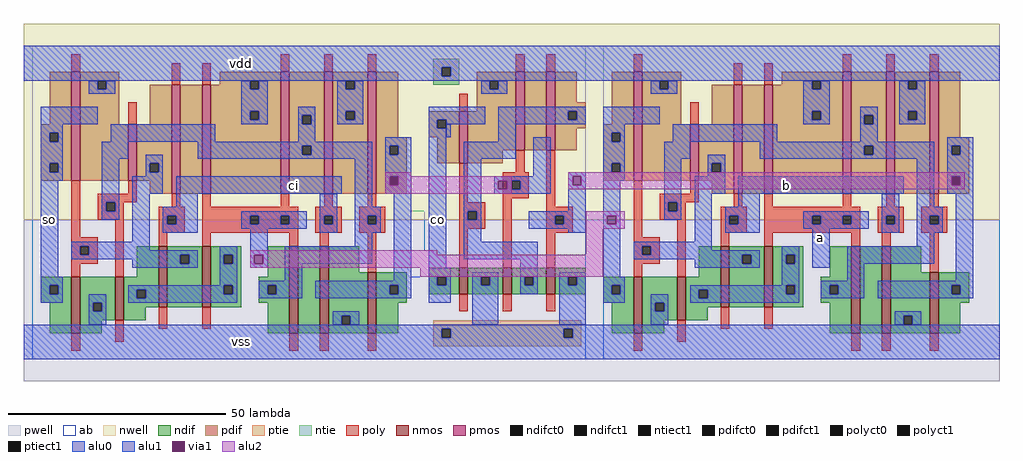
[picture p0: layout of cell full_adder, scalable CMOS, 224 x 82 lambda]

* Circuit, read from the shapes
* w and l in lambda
.subckt full_adder a b ci co so vdd vss
M1 vss n1 so vss nfet w=13 l=2
M2 n2 n3 vss vss nfet w=10 l=2
M3 n1 ci n2 vss nfet w=14 l=2
M4 n2 n4 n1 vss nfet w=14 l=2
M5 n5 n4 n3 vss nfet w=20 l=2
M6 vss ci n5 vss nfet w=20 l=2
M7 n6 n3 vss vss nfet w=14 l=2
M8 vss n7 co vss nfet w=6 l=2
M9 n7 n6 vss vss nfet w=6 l=2
M10 vss n8 n7 vss nfet w=6 l=2
M11 vss n9 n4 vss nfet w=13 l=2
M12 n10 n11 vss vss nfet w=10 l=2
M13 n9 b n10 vss nfet w=14 l=2
M14 n10 a n9 vss nfet w=14 l=2
M15 n12 a n11 vss nfet w=20 l=2
M16 vss b n12 vss nfet w=20 l=2
M17 n8 n11 vss vss nfet w=14 l=2
M18 vdd n1 so vdd pfet w=25 l=2
M19 n1 n3 vdd vdd pfet w=13 l=2
M20 n13 ci n1 vdd pfet w=25 l=2
M21 vdd n4 n13 vdd pfet w=25 l=2
M22 n3 n4 vdd vdd pfet w=28 l=2
M23 vdd ci n3 vdd pfet w=28 l=2
M24 n6 n3 vdd vdd pfet w=28 l=2
M25 vdd n7 co vdd pfet w=12 l=2
M26 n14 n6 vdd vdd pfet w=18 l=2
M27 n7 n8 n14 vdd pfet w=18 l=2
M28 vdd n9 n4 vdd pfet w=25 l=2
M29 n9 n11 vdd vdd pfet w=13 l=2
M30 n15 b n9 vdd pfet w=25 l=2
M31 vdd a n15 vdd pfet w=25 l=2
M32 n11 a vdd vdd pfet w=28 l=2
M33 vdd b n11 vdd pfet w=28 l=2
M34 n8 n11 vdd vdd pfet w=28 l=2
.ends

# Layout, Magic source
magic
tech scmos
<< ab >>
rect 10 39 137 77
rect 10 30 97 39
rect 100 30 137 39
rect 10 26 137 30
rect 10 24 97 26
rect 99 24 137 26
rect 10 5 137 24
rect 141 5 232 77
<< nwell >>
rect 8 37 232 82
<< pwell >>
rect 8 0 232 37
<< poly >>
rect 19 71 21 75
rect 42 68 44 73
rect 49 68 51 73
rect 67 71 69 75
rect 77 71 79 75
rect 87 71 89 75
rect 32 59 34 64
rect 19 33 21 46
rect 32 43 34 46
rect 121 71 123 75
rect 128 71 130 75
rect 148 71 150 75
rect 108 62 110 66
rect 25 41 34 43
rect 25 39 27 41
rect 29 39 31 41
rect 42 40 44 43
rect 49 40 51 43
rect 67 40 69 43
rect 77 40 79 43
rect 87 40 89 43
rect 108 41 110 50
rect 121 48 123 53
rect 118 46 124 48
rect 118 44 120 46
rect 122 44 124 46
rect 118 42 124 44
rect 25 37 31 39
rect 19 31 25 33
rect 19 29 21 31
rect 23 29 25 31
rect 19 27 25 29
rect 19 24 21 27
rect 29 24 31 37
rect 39 38 45 40
rect 39 36 41 38
rect 43 36 45 38
rect 39 34 45 36
rect 49 38 71 40
rect 49 36 60 38
rect 62 36 67 38
rect 69 36 71 38
rect 49 34 71 36
rect 75 38 81 40
rect 75 36 77 38
rect 79 36 81 38
rect 75 34 81 36
rect 85 38 91 40
rect 85 36 87 38
rect 89 36 91 38
rect 85 34 91 36
rect 108 39 114 41
rect 108 37 110 39
rect 112 37 114 39
rect 108 35 114 37
rect 39 31 41 34
rect 49 31 51 34
rect 69 31 71 34
rect 76 31 78 34
rect 19 7 21 11
rect 29 9 31 14
rect 39 12 41 17
rect 49 12 51 17
rect 87 25 89 34
rect 108 26 110 35
rect 118 26 120 42
rect 128 40 130 53
rect 171 68 173 73
rect 178 68 180 73
rect 196 71 198 75
rect 206 71 208 75
rect 216 71 218 75
rect 161 59 163 64
rect 128 38 134 40
rect 128 36 130 38
rect 132 36 134 38
rect 128 34 134 36
rect 128 26 130 34
rect 148 33 150 46
rect 161 43 163 46
rect 154 41 163 43
rect 154 39 156 41
rect 158 39 160 41
rect 171 40 173 43
rect 178 40 180 43
rect 196 40 198 43
rect 206 40 208 43
rect 216 40 218 43
rect 154 37 160 39
rect 148 31 154 33
rect 148 29 150 31
rect 152 29 154 31
rect 148 27 154 29
rect 148 24 150 27
rect 158 24 160 37
rect 168 38 174 40
rect 168 36 170 38
rect 172 36 174 38
rect 168 34 174 36
rect 178 38 200 40
rect 178 36 189 38
rect 191 36 196 38
rect 198 36 200 38
rect 178 34 200 36
rect 204 38 210 40
rect 204 36 206 38
rect 208 36 210 38
rect 204 34 210 36
rect 214 38 220 40
rect 214 36 216 38
rect 218 36 220 38
rect 214 34 220 36
rect 168 31 170 34
rect 178 31 180 34
rect 198 31 200 34
rect 205 31 207 34
rect 108 16 110 20
rect 118 16 120 20
rect 128 16 130 20
rect 69 7 71 11
rect 76 7 78 11
rect 87 7 89 11
rect 148 7 150 11
rect 158 9 160 14
rect 168 12 170 17
rect 178 12 180 17
rect 216 25 218 34
rect 198 7 200 11
rect 205 7 207 11
rect 216 7 218 11
<< ndif >>
rect 34 24 39 31
rect 12 22 19 24
rect 12 20 14 22
rect 16 20 19 22
rect 12 18 19 20
rect 14 11 19 18
rect 21 18 29 24
rect 21 16 24 18
rect 26 16 29 18
rect 21 14 29 16
rect 31 21 39 24
rect 31 19 34 21
rect 36 19 39 21
rect 31 17 39 19
rect 41 29 49 31
rect 41 27 44 29
rect 46 27 49 29
rect 41 17 49 27
rect 51 29 58 31
rect 51 27 54 29
rect 56 27 58 29
rect 51 22 58 27
rect 64 24 69 31
rect 51 20 54 22
rect 56 20 58 22
rect 51 17 58 20
rect 62 22 69 24
rect 62 20 64 22
rect 66 20 69 22
rect 62 18 69 20
rect 31 14 36 17
rect 21 11 26 14
rect 64 11 69 18
rect 71 11 76 31
rect 78 25 85 31
rect 78 15 87 25
rect 78 13 81 15
rect 83 13 87 15
rect 78 11 87 13
rect 89 22 96 25
rect 89 20 92 22
rect 94 20 96 22
rect 101 24 108 26
rect 101 22 103 24
rect 105 22 108 24
rect 101 20 108 22
rect 110 24 118 26
rect 110 22 113 24
rect 115 22 118 24
rect 110 20 118 22
rect 120 24 128 26
rect 120 22 123 24
rect 125 22 128 24
rect 120 20 128 22
rect 130 24 137 26
rect 163 24 168 31
rect 130 22 133 24
rect 135 22 137 24
rect 130 20 137 22
rect 141 22 148 24
rect 141 20 143 22
rect 145 20 148 22
rect 89 18 96 20
rect 89 11 94 18
rect 141 18 148 20
rect 143 11 148 18
rect 150 18 158 24
rect 150 16 153 18
rect 155 16 158 18
rect 150 14 158 16
rect 160 21 168 24
rect 160 19 163 21
rect 165 19 168 21
rect 160 17 168 19
rect 170 29 178 31
rect 170 27 173 29
rect 175 27 178 29
rect 170 17 178 27
rect 180 29 187 31
rect 180 27 183 29
rect 185 27 187 29
rect 180 22 187 27
rect 193 24 198 31
rect 180 20 183 22
rect 185 20 187 22
rect 180 17 187 20
rect 191 22 198 24
rect 191 20 193 22
rect 195 20 198 22
rect 191 18 198 20
rect 160 14 165 17
rect 150 11 155 14
rect 193 11 198 18
rect 200 11 205 31
rect 207 25 214 31
rect 207 15 216 25
rect 207 13 210 15
rect 212 13 216 15
rect 207 11 216 13
rect 218 22 225 25
rect 218 20 221 22
rect 223 20 225 22
rect 218 18 225 20
rect 218 11 223 18
<< pdif >>
rect 14 59 19 71
rect 12 57 19 59
rect 12 55 14 57
rect 16 55 19 57
rect 12 50 19 55
rect 12 48 14 50
rect 16 48 19 50
rect 12 46 19 48
rect 21 69 30 71
rect 21 67 25 69
rect 27 67 30 69
rect 53 69 67 71
rect 53 68 60 69
rect 21 59 30 67
rect 37 59 42 68
rect 21 46 32 59
rect 34 50 42 59
rect 34 48 37 50
rect 39 48 42 50
rect 34 46 42 48
rect 37 43 42 46
rect 44 43 49 68
rect 51 67 60 68
rect 62 67 67 69
rect 51 62 67 67
rect 51 60 60 62
rect 62 60 67 62
rect 51 43 67 60
rect 69 61 77 71
rect 69 59 72 61
rect 74 59 77 61
rect 69 54 77 59
rect 69 52 72 54
rect 74 52 77 54
rect 69 43 77 52
rect 79 69 87 71
rect 79 67 82 69
rect 84 67 87 69
rect 79 62 87 67
rect 79 60 82 62
rect 84 60 87 62
rect 79 43 87 60
rect 89 56 94 71
rect 112 69 121 71
rect 112 67 115 69
rect 117 67 121 69
rect 112 62 121 67
rect 101 60 108 62
rect 101 58 103 60
rect 105 58 108 60
rect 101 56 108 58
rect 89 54 96 56
rect 89 52 92 54
rect 94 52 96 54
rect 89 47 96 52
rect 103 50 108 56
rect 110 53 121 62
rect 123 53 128 71
rect 130 64 135 71
rect 130 62 137 64
rect 130 60 133 62
rect 135 60 137 62
rect 130 58 137 60
rect 143 59 148 71
rect 130 53 135 58
rect 141 57 148 59
rect 141 55 143 57
rect 145 55 148 57
rect 110 50 118 53
rect 89 45 92 47
rect 94 45 96 47
rect 89 43 96 45
rect 141 50 148 55
rect 141 48 143 50
rect 145 48 148 50
rect 141 46 148 48
rect 150 69 159 71
rect 150 67 154 69
rect 156 67 159 69
rect 182 69 196 71
rect 182 68 189 69
rect 150 59 159 67
rect 166 59 171 68
rect 150 46 161 59
rect 163 50 171 59
rect 163 48 166 50
rect 168 48 171 50
rect 163 46 171 48
rect 166 43 171 46
rect 173 43 178 68
rect 180 67 189 68
rect 191 67 196 69
rect 180 62 196 67
rect 180 60 189 62
rect 191 60 196 62
rect 180 43 196 60
rect 198 61 206 71
rect 198 59 201 61
rect 203 59 206 61
rect 198 54 206 59
rect 198 52 201 54
rect 203 52 206 54
rect 198 43 206 52
rect 208 69 216 71
rect 208 67 211 69
rect 213 67 216 69
rect 208 62 216 67
rect 208 60 211 62
rect 213 60 216 62
rect 208 43 216 60
rect 218 56 223 71
rect 218 54 225 56
rect 218 52 221 54
rect 223 52 225 54
rect 218 47 225 52
rect 218 45 221 47
rect 223 45 225 47
rect 218 43 225 45
<< alu1 >>
rect 8 72 232 77
rect 8 70 104 72
rect 106 70 232 72
rect 8 69 232 70
rect 12 59 25 63
rect 101 60 114 63
rect 12 57 17 59
rect 12 55 14 57
rect 16 55 17 57
rect 101 58 103 60
rect 105 59 114 60
rect 141 59 154 63
rect 12 50 17 55
rect 12 48 14 50
rect 16 48 17 50
rect 12 46 17 48
rect 12 24 16 46
rect 43 43 81 47
rect 43 40 48 43
rect 40 38 48 40
rect 40 36 41 38
rect 43 36 48 38
rect 40 34 48 36
rect 58 38 73 39
rect 58 36 60 38
rect 62 36 67 38
rect 69 36 73 38
rect 58 35 73 36
rect 12 22 17 24
rect 60 29 64 35
rect 91 54 97 56
rect 91 52 92 54
rect 94 52 97 54
rect 91 47 97 52
rect 91 45 92 47
rect 94 45 97 47
rect 91 43 97 45
rect 60 27 61 29
rect 63 27 64 29
rect 60 26 64 27
rect 93 23 97 43
rect 12 20 14 22
rect 16 20 17 22
rect 12 18 17 20
rect 75 22 97 23
rect 75 20 92 22
rect 94 20 97 22
rect 75 19 97 20
rect 101 26 105 58
rect 141 57 146 59
rect 125 47 129 56
rect 141 55 143 57
rect 145 55 146 57
rect 141 50 146 55
rect 141 48 143 50
rect 145 48 146 50
rect 116 46 129 47
rect 116 44 117 46
rect 119 44 120 46
rect 122 44 129 46
rect 116 43 129 44
rect 133 47 137 48
rect 133 45 134 47
rect 136 45 137 47
rect 133 39 137 45
rect 124 38 137 39
rect 124 36 130 38
rect 132 36 137 38
rect 124 35 137 36
rect 133 34 137 35
rect 141 46 146 48
rect 141 38 145 46
rect 141 36 142 38
rect 144 36 145 38
rect 172 43 210 47
rect 101 24 106 26
rect 101 22 103 24
rect 105 22 106 24
rect 101 18 106 22
rect 141 24 145 36
rect 172 40 177 43
rect 169 38 177 40
rect 169 36 170 38
rect 172 36 177 38
rect 169 34 177 36
rect 187 38 202 39
rect 187 36 189 38
rect 191 36 196 38
rect 198 36 202 38
rect 187 35 202 36
rect 141 22 146 24
rect 189 26 193 35
rect 220 54 226 56
rect 220 52 221 54
rect 223 52 226 54
rect 220 47 226 52
rect 220 45 221 47
rect 223 45 226 47
rect 220 43 226 45
rect 222 23 226 43
rect 141 20 143 22
rect 145 20 146 22
rect 141 18 146 20
rect 204 22 226 23
rect 204 20 221 22
rect 223 20 226 22
rect 204 19 226 20
rect 8 12 232 13
rect 8 10 104 12
rect 106 10 132 12
rect 134 10 232 12
rect 8 5 232 10
<< alu2 >>
rect 91 47 97 48
rect 133 47 224 48
rect 91 45 92 47
rect 94 46 120 47
rect 94 45 117 46
rect 91 44 117 45
rect 119 44 120 46
rect 133 45 134 47
rect 136 45 221 47
rect 223 45 224 47
rect 133 44 224 45
rect 91 43 120 44
rect 137 38 146 39
rect 137 36 142 38
rect 144 36 146 38
rect 137 35 146 36
rect 60 29 103 30
rect 137 29 141 35
rect 60 27 61 29
rect 63 27 141 29
rect 60 26 141 27
rect 99 24 141 26
<< ptie >>
rect 102 12 136 14
rect 102 10 104 12
rect 106 10 132 12
rect 134 10 136 12
rect 102 8 136 10
<< ntie >>
rect 102 72 108 74
rect 102 70 104 72
rect 106 70 108 72
rect 102 68 108 70
<< nmos >>
rect 19 11 21 24
rect 29 14 31 24
rect 39 17 41 31
rect 49 17 51 31
rect 69 11 71 31
rect 76 11 78 31
rect 87 11 89 25
rect 108 20 110 26
rect 118 20 120 26
rect 128 20 130 26
rect 148 11 150 24
rect 158 14 160 24
rect 168 17 170 31
rect 178 17 180 31
rect 198 11 200 31
rect 205 11 207 31
rect 216 11 218 25
<< pmos >>
rect 19 46 21 71
rect 32 46 34 59
rect 42 43 44 68
rect 49 43 51 68
rect 67 43 69 71
rect 77 43 79 71
rect 87 43 89 71
rect 108 50 110 62
rect 121 53 123 71
rect 128 53 130 71
rect 148 46 150 71
rect 161 46 163 59
rect 171 43 173 68
rect 178 43 180 68
rect 196 43 198 71
rect 206 43 208 71
rect 216 43 218 71
<< polyct0 >>
rect 27 39 29 41
rect 21 29 23 31
rect 77 36 79 38
rect 87 36 89 38
rect 110 37 112 39
rect 156 39 158 41
rect 150 29 152 31
rect 206 36 208 38
rect 216 36 218 38
<< polyct1 >>
rect 120 44 122 46
rect 41 36 43 38
rect 60 36 62 38
rect 67 36 69 38
rect 130 36 132 38
rect 170 36 172 38
rect 189 36 191 38
rect 196 36 198 38
<< ndifct0 >>
rect 24 16 26 18
rect 34 19 36 21
rect 44 27 46 29
rect 54 27 56 29
rect 54 20 56 22
rect 64 20 66 22
rect 81 13 83 15
rect 113 22 115 24
rect 123 22 125 24
rect 133 22 135 24
rect 153 16 155 18
rect 163 19 165 21
rect 173 27 175 29
rect 183 27 185 29
rect 183 20 185 22
rect 193 20 195 22
rect 210 13 212 15
<< ndifct1 >>
rect 14 20 16 22
rect 92 20 94 22
rect 103 22 105 24
rect 143 20 145 22
rect 221 20 223 22
<< ntiect1 >>
rect 104 70 106 72
<< ptiect1 >>
rect 104 10 106 12
rect 132 10 134 12
<< pdifct0 >>
rect 25 67 27 69
rect 37 48 39 50
rect 60 67 62 69
rect 60 60 62 62
rect 72 59 74 61
rect 72 52 74 54
rect 82 67 84 69
rect 82 60 84 62
rect 115 67 117 69
rect 133 60 135 62
rect 154 67 156 69
rect 166 48 168 50
rect 189 67 191 69
rect 189 60 191 62
rect 201 59 203 61
rect 201 52 203 54
rect 211 67 213 69
rect 211 60 213 62
<< pdifct1 >>
rect 14 55 16 57
rect 14 48 16 50
rect 103 58 105 60
rect 92 52 94 54
rect 143 55 145 57
rect 92 45 94 47
rect 143 48 145 50
rect 221 52 223 54
rect 221 45 223 47
<< alu0 >>
rect 23 67 25 69
rect 27 67 29 69
rect 23 66 29 67
rect 58 67 60 69
rect 62 67 64 69
rect 58 62 64 67
rect 80 67 82 69
rect 84 67 86 69
rect 58 60 60 62
rect 62 60 64 62
rect 58 59 64 60
rect 71 61 75 63
rect 71 59 72 61
rect 74 59 75 61
rect 80 62 86 67
rect 113 67 115 69
rect 117 67 119 69
rect 113 66 119 67
rect 152 67 154 69
rect 156 67 158 69
rect 152 66 158 67
rect 187 67 189 69
rect 191 67 193 69
rect 80 60 82 62
rect 84 60 86 62
rect 80 59 86 60
rect 28 55 52 59
rect 71 55 75 59
rect 117 62 137 63
rect 117 60 133 62
rect 135 60 137 62
rect 117 59 137 60
rect 187 62 193 67
rect 209 67 211 69
rect 213 67 215 69
rect 187 60 189 62
rect 191 60 193 62
rect 187 59 193 60
rect 200 61 204 63
rect 200 59 201 61
rect 203 59 204 61
rect 209 62 215 67
rect 209 60 211 62
rect 213 60 215 62
rect 209 59 215 60
rect 26 51 32 55
rect 48 54 88 55
rect 48 52 72 54
rect 74 52 88 54
rect 26 41 30 51
rect 36 50 40 52
rect 48 51 88 52
rect 36 48 37 50
rect 39 48 40 50
rect 36 47 40 48
rect 26 39 27 41
rect 29 39 30 41
rect 26 37 30 39
rect 33 43 40 47
rect 33 32 37 43
rect 76 38 80 43
rect 76 36 77 38
rect 79 36 80 38
rect 19 31 37 32
rect 19 29 21 31
rect 23 30 37 31
rect 23 29 48 30
rect 19 28 44 29
rect 33 27 44 28
rect 46 27 48 29
rect 33 26 48 27
rect 53 29 57 31
rect 53 27 54 29
rect 56 27 57 29
rect 53 22 57 27
rect 76 34 80 36
rect 84 40 88 51
rect 84 38 90 40
rect 84 36 87 38
rect 89 36 90 38
rect 84 34 90 36
rect 84 31 88 34
rect 68 27 88 31
rect 68 23 72 27
rect 32 21 54 22
rect 23 18 27 20
rect 32 19 34 21
rect 36 20 54 21
rect 56 20 57 22
rect 36 19 57 20
rect 62 22 72 23
rect 62 20 64 22
rect 66 20 72 22
rect 62 19 72 20
rect 105 56 106 59
rect 117 55 121 59
rect 109 51 121 55
rect 109 39 113 51
rect 157 55 181 59
rect 200 55 204 59
rect 109 37 110 39
rect 112 37 113 39
rect 109 32 113 37
rect 155 51 161 55
rect 177 54 217 55
rect 177 52 201 54
rect 203 52 217 54
rect 155 41 159 51
rect 165 50 169 52
rect 177 51 217 52
rect 165 48 166 50
rect 168 48 169 50
rect 165 47 169 48
rect 155 39 156 41
rect 158 39 159 41
rect 155 37 159 39
rect 162 43 169 47
rect 109 28 126 32
rect 32 18 57 19
rect 111 24 117 25
rect 111 22 113 24
rect 115 22 117 24
rect 23 16 24 18
rect 26 16 27 18
rect 23 13 27 16
rect 79 15 85 16
rect 79 13 81 15
rect 83 13 85 15
rect 111 13 117 22
rect 122 24 126 28
rect 122 22 123 24
rect 125 22 126 24
rect 122 20 126 22
rect 131 24 137 25
rect 131 22 133 24
rect 135 22 137 24
rect 131 13 137 22
rect 162 32 166 43
rect 205 38 209 43
rect 205 36 206 38
rect 208 36 209 38
rect 148 31 166 32
rect 148 29 150 31
rect 152 30 166 31
rect 152 29 177 30
rect 148 28 173 29
rect 162 27 173 28
rect 175 27 177 29
rect 162 26 177 27
rect 182 29 186 31
rect 182 27 183 29
rect 185 27 186 29
rect 182 22 186 27
rect 205 34 209 36
rect 213 40 217 51
rect 213 38 219 40
rect 213 36 216 38
rect 218 36 219 38
rect 213 34 219 36
rect 213 31 217 34
rect 197 27 217 31
rect 197 23 201 27
rect 161 21 183 22
rect 152 18 156 20
rect 161 19 163 21
rect 165 20 183 21
rect 185 20 186 22
rect 165 19 186 20
rect 191 22 201 23
rect 191 20 193 22
rect 195 20 201 22
rect 191 19 201 20
rect 161 18 186 19
rect 152 16 153 18
rect 155 16 156 18
rect 152 13 156 16
rect 208 15 214 16
rect 208 13 210 15
rect 212 13 214 15
<< via1 >>
rect 92 45 94 47
rect 61 27 63 29
rect 117 44 119 46
rect 134 45 136 47
rect 142 36 144 38
rect 221 45 223 47
<< labels >>
rlabel alu1 103 37 103 37 1 co
rlabel alu1 191 33 191 33 6 a
rlabel alu1 183 45 183 45 6 b
rlabel alu1 70 45 70 45 1 ci
rlabel alu1 58 73 58 73 6 vdd
rlabel alu1 58 9 58 9 6 vss
rlabel alu1 14 37 14 37 6 so
<< end >>
